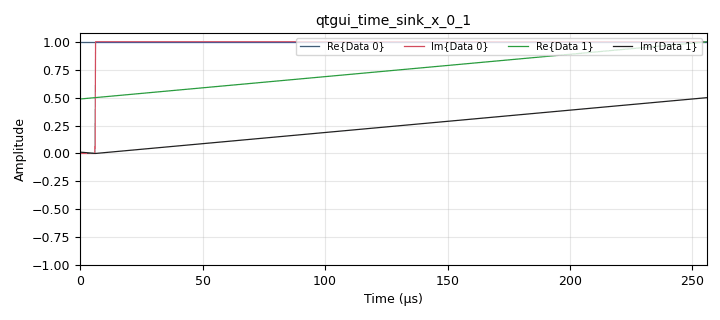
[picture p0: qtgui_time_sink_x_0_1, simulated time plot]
options:
  parameters:
    category: Custom
    generate_options: qt_gui
    id: gr_ble
    output_language: python
    title: Bluetooth LE Receiver
  states: {}

blocks:
- name: ble_base_freq
  id: variable
  parameters:
    value: 2402e6
  states: {}
- name: ble_channel
  id: variable
  parameters:
    value: '12'
  states: {}
- name: ble_channel_spacing
  id: variable
  parameters:
    value: 2e6
  states: {}
- name: freq
  id: variable
  parameters:
    value: ble_base_freq+(ble_channel_spacing * ble_channel)
  states: {}
- name: samp_rate
  id: variable
  parameters:
    value: 4e6
  states: {}
- name: analog_sig_source_x_0
  id: analog_sig_source_x
  parameters:
    amp: '1'
    freq: '1000'
    offset: '0'
    phase: '0'
    samp_rate: samp_rate
    type: complex
    waveform: analog.GR_SQR_WAVE
  states: {}
- name: analog_sig_source_x_0_0
  id: analog_sig_source_x
  parameters:
    amp: '1'
    freq: '1000'
    offset: '0'
    phase: '0'
    samp_rate: samp_rate
    type: complex
    waveform: analog.GR_TRI_WAVE
  states: {}
- name: blocks_file_sink_1
  id: blocks_file_sink
  parameters:
    file: file.out
    type: complex
    vlen: '2'
  states: {}
- name: blocks_streams_to_vector_0
  id: blocks_streams_to_vector
  parameters:
    type: complex
  states: {}
- name: blocks_throttle2_0
  id: blocks_throttle2
  parameters:
    samples_per_second: samp_rate
    type: complex
  states: {}
- name: blocks_throttle2_0_0
  id: blocks_throttle2
  parameters:
    samples_per_second: samp_rate
    type: complex
  states: {}
- name: qtgui_time_sink_x_0_1
  id: qtgui_time_sink_x
  parameters:
    nconnections: '2'
    size: '1024'
    srate: samp_rate
    type: complex
  states: {}

connections:
- [analog_sig_source_x_0, '0', blocks_throttle2_0, '0']
- [analog_sig_source_x_0_0, '0', blocks_throttle2_0_0, '0']
- [blocks_streams_to_vector_0, '0', blocks_file_sink_1, '0']
- [blocks_throttle2_0, '0', blocks_streams_to_vector_0, '0']
- [blocks_throttle2_0, '0', qtgui_time_sink_x_0_1, '0']
- [blocks_throttle2_0_0, '0', blocks_streams_to_vector_0, '1']
- [blocks_throttle2_0_0, '0', qtgui_time_sink_x_0_1, '1']

metadata:
  file_format: 1
  grc_version: 3.10.10.0
